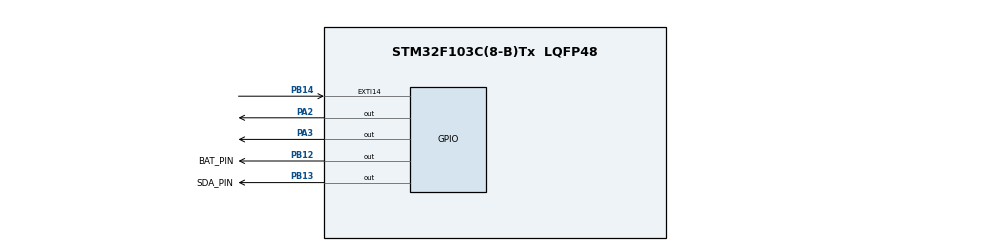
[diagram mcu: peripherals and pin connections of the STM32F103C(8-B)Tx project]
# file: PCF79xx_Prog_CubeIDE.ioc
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Mcu.Family=STM32F1
Mcu.Name=STM32F103C(8-B)Tx
Mcu.Package=LQFP48
NVIC.EXTI15_10_IRQn=true\:0\:0\:false\:false\:true\:true\:true
NVIC.PriorityGroup=NVIC_PRIORITYGROUP_4
PA13.Mode=Serial_Wire
PA13.Signal=SYS_JTMS-SWDIO
PA14.Mode=Serial_Wire
PA14.Signal=SYS_JTCK-SWCLK
PA2.Signal=GPIO_Output
PA3.Signal=GPIO_Output
PB12.GPIO_Label=BAT_PIN
PB12.GPIO_Speed=GPIO_SPEED_FREQ_HIGH
PB12.Signal=GPIO_Output
PB13.GPIO_Label=SDA_PIN
PB13.GPIO_Speed=GPIO_SPEED_FREQ_HIGH
PB13.Signal=GPIO_Output
PB14.Signal=GPXTI14
PD0-OSC_IN.Mode=HSE-External-Oscillator
PD0-OSC_IN.Signal=RCC_OSC_IN
PD1-OSC_OUT.Mode=HSE-External-Oscillator
PD1-OSC_OUT.Signal=RCC_OSC_OUT
ProjectManager.HeapSize=0x200
ProjectManager.StackSize=0x400
ProjectManager.TargetToolchain=STM32CubeIDE
RCC.AHBFreq_Value=72000000
RCC.APB1CLKDivider=RCC_HCLK_DIV2
RCC.APB1Freq_Value=36000000
RCC.APB1TimFreq_Value=72000000
RCC.APB2Freq_Value=72000000
RCC.APB2TimFreq_Value=72000000
RCC.HCLKFreq_Value=72000000
RCC.PLLMUL=RCC_PLL_MUL9
RCC.PLLSourceVirtual=RCC_PLLSOURCE_HSE
RCC.SYSCLKFreq_VALUE=72000000
RCC.SYSCLKSource=RCC_SYSCLKSOURCE_PLLCLK
RCC.USBFreq_Value=72000000
board=custom

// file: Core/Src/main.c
/* USER CODE BEGIN Header */
/**
  ******************************************************************************
  * @file           : main.c
  * @brief          : Main program body
  ******************************************************************************
  * @attention
  *
  * <h2><center>&copy; Copyright (c) 2020 STMicroelectronics.
  * All rights reserved.</center></h2>
  *
  * This software component is licensed by ST under BSD 3-Clause license,
  * the "License"; You may not use this file except in compliance with the
  * License. You may obtain a copy of the License at:
  *                        opensource.org/licenses/BSD-3-Clause
  *
  ******************************************************************************
  */
/* USER CODE END Header */
#include "main.h"

/* USER CODE BEGIN Includes */
#include "stm32f103xb.h"
#include "Sysdefines.h"
#include "mdi.h"
#include "rom.h"
#include "stdlib.h"
#include "usb.h"
#include "utility.h"
#include "dwt_stm32_delay.h"
#include "user_cmd.h"

/* USER CODE END Includes */

/* USER CODE BEGIN PV */

/* Special memory areas not to be used by program memory  */
__attribute__((section(".shared_mem.VERSION_NUMBER"))) uint8_t PCF_Tool_SW_Version[3] = PCF_TOOL_SW_VERSION;
__attribute__((section("._bootkey_section.BOOTKEY"))) uint32_t BOOTKEY = 0;

/* USER CODE END PV */

void SystemClock_Config(void);
static void MX_GPIO_Init(void);
/* USER CODE BEGIN PFP */

static void MX_GPIO_EXTI_Init(void);
/* USER CODE END PFP */

int main(void)
{

  /* MCU Configuration--------------------------------------------------------*/

  /* Reset of all peripherals, Initializes the Flash interface and the Systick. */

  LL_APB2_GRP1_EnableClock(LL_APB2_GRP1_PERIPH_AFIO);
  LL_APB1_GRP1_EnableClock(LL_APB1_GRP1_PERIPH_PWR);

  NVIC_SetPriorityGrouping(NVIC_PRIORITYGROUP_4);

  /* System interrupt init*/

  /** NOJTAG: JTAG-DP Disabled and SW-DP Enabled
  */
  LL_GPIO_AF_Remap_SWJ_NOJTAG();

  /* Configure the system clock */
  SystemClock_Config();

  /* USER CODE BEGIN SysInit */

  LL_APB1_GRP1_EnableClock(LL_APB1_GRP1_PERIPH_USB);

  /* USER CODE END SysInit */

  /* Initialize all configured peripherals */
  MX_GPIO_Init();
  /* USER CODE BEGIN 2 */

  DWT_Delay_Init();
  MX_GPIO_EXTI_Init();
  LL_GPIO_SetPinPull(MSCL_PORT, MSCL_PIN, LL_GPIO_PULL_DOWN);
  LL_GPIO_AF_SetEXTISource(LL_GPIO_AF_EXTI_PORTB, LL_GPIO_AF_EXTI_LINE14);
  UsbSetup();

  /* USER CODE END 2 */

  /* Infinite loop */
  /* USER CODE BEGIN WHILE */
  while (1)
  {
	if (ui_cmd_recv() < 0)
	{
		SendBytesUsb((uint8_t*)COMMAND_ERR,1,UINT32_MAX);
	}
	else{
		ui_cmd_handler();
	}
  }
    /* USER CODE END WHILE */

}

void SystemClock_Config(void)
{
  LL_FLASH_SetLatency(LL_FLASH_LATENCY_2);
  while(LL_FLASH_GetLatency()!= LL_FLASH_LATENCY_2)
  {
  }
  LL_RCC_HSE_Enable();

   /* Wait till HSE is ready */
  while(LL_RCC_HSE_IsReady() != 1)
  {

  }
  LL_RCC_PLL_ConfigDomain_SYS(LL_RCC_PLLSOURCE_HSE_DIV_1, LL_RCC_PLL_MUL_9);
  LL_RCC_PLL_Enable();

   /* Wait till PLL is ready */
  while(LL_RCC_PLL_IsReady() != 1)
  {

  }
  LL_RCC_SetAHBPrescaler(LL_RCC_SYSCLK_DIV_1);
  LL_RCC_SetAPB1Prescaler(LL_RCC_APB1_DIV_2);
  LL_RCC_SetAPB2Prescaler(LL_RCC_APB2_DIV_1);
  LL_RCC_SetSysClkSource(LL_RCC_SYS_CLKSOURCE_PLL);

   /* Wait till System clock is ready */
  while(LL_RCC_GetSysClkSource() != LL_RCC_SYS_CLKSOURCE_STATUS_PLL)
  {

  }
  LL_Init1msTick(72000000);
  LL_SetSystemCoreClock(72000000);
}

static void MX_GPIO_Init(void)
{
  LL_GPIO_InitTypeDef GPIO_InitStruct = {0};

  /* GPIO Ports Clock Enable */
  LL_APB2_GRP1_EnableClock(LL_APB2_GRP1_PERIPH_GPIOC);
  LL_APB2_GRP1_EnableClock(LL_APB2_GRP1_PERIPH_GPIOD);
  LL_APB2_GRP1_EnableClock(LL_APB2_GRP1_PERIPH_GPIOA);
  LL_APB2_GRP1_EnableClock(LL_APB2_GRP1_PERIPH_GPIOB);

  /**/
  LL_GPIO_ResetOutputPin(GPIOC, LL_GPIO_PIN_13);

  /**/
  LL_GPIO_ResetOutputPin(GPIOA, LL_GPIO_PIN_2|LL_GPIO_PIN_3);

  /**/
  LL_GPIO_ResetOutputPin(GPIOB, BAT_PIN | MSDA_PIN);

  /**/
  GPIO_InitStruct.Pin = LL_GPIO_PIN_13;
  GPIO_InitStruct.Mode = LL_GPIO_MODE_OUTPUT;
  GPIO_InitStruct.Speed = LL_GPIO_SPEED_FREQ_LOW;
  GPIO_InitStruct.OutputType = LL_GPIO_OUTPUT_PUSHPULL;
  LL_GPIO_Init(GPIOC, &GPIO_InitStruct);

  /**/
  GPIO_InitStruct.Pin = LL_GPIO_PIN_2|LL_GPIO_PIN_3;
  GPIO_InitStruct.Mode = LL_GPIO_MODE_OUTPUT;
  GPIO_InitStruct.Speed = LL_GPIO_SPEED_FREQ_HIGH;
  GPIO_InitStruct.OutputType = LL_GPIO_OUTPUT_PUSHPULL;
  LL_GPIO_Init(GPIOA, &GPIO_InitStruct);

  /**/
  GPIO_InitStruct.Pin = BAT_PIN;
  GPIO_InitStruct.Mode = LL_GPIO_MODE_OUTPUT;
  GPIO_InitStruct.Speed = LL_GPIO_SPEED_FREQ_HIGH;
  GPIO_InitStruct.OutputType = LL_GPIO_OUTPUT_PUSHPULL;
  LL_GPIO_Init(BAT_PORT, &GPIO_InitStruct);

  /**/
  GPIO_InitStruct.Pin = MSDA_PIN;
  GPIO_InitStruct.Mode = LL_GPIO_MODE_OUTPUT;
  GPIO_InitStruct.Speed = LL_GPIO_SPEED_FREQ_HIGH;
  GPIO_InitStruct.OutputType = LL_GPIO_OUTPUT_PUSHPULL;
  GPIO_InitStruct.Pull = LL_GPIO_PULL_UP;
  LL_GPIO_Init(MSDA_PORT, &GPIO_InitStruct);

  /**/
  GPIO_InitStruct.Pin = MSCL_PIN;
  GPIO_InitStruct.Mode = LL_GPIO_MODE_FLOATING;
  LL_GPIO_Init(MSCL_PORT, &GPIO_InitStruct);

}

/* USER CODE BEGIN 4 */

/**
  * @brief GPIO Initialization Function
  * @param None
  * @retval None
  */
static void MX_GPIO_EXTI_Init(void)
{
  LL_EXTI_InitTypeDef EXTI_InitStruct = {0};

  /**/
  LL_GPIO_AF_SetEXTISource(LL_GPIO_AF_EXTI_PORTB, LL_GPIO_AF_EXTI_LINE14);

  /**/
  EXTI_InitStruct.Line_0_31 = LL_EXTI_LINE_14;
  EXTI_InitStruct.LineCommand = DISABLE;
  EXTI_InitStruct.Mode = LL_EXTI_MODE_IT;
  EXTI_InitStruct.Trigger = LL_EXTI_TRIGGER_RISING;
  LL_EXTI_Init(&EXTI_InitStruct);

  /* EXTI interrupt init check if necessary*/
  NVIC_SetPriority(EXTI15_10_IRQn, NVIC_EncodePriority(NVIC_GetPriorityGrouping(),0, 0));

}
/* USER CODE END 4 */

void Error_Handler(void)
{
}

/************************ (C) COPYRIGHT STMicroelectronics *****END OF FILE****/
